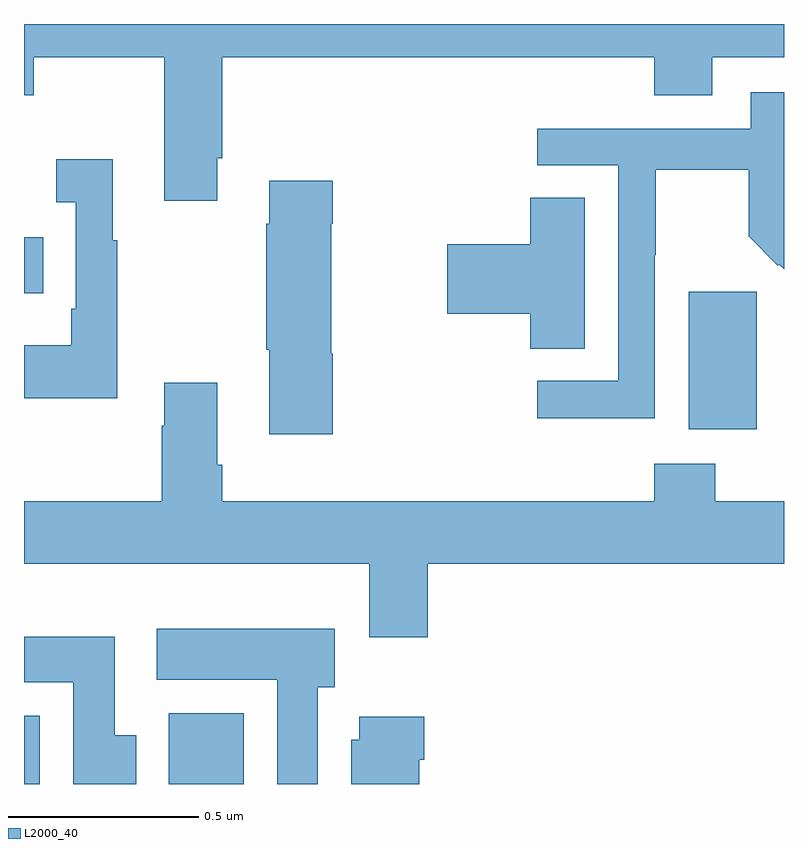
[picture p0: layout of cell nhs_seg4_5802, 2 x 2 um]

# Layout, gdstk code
import gdstk
lib = gdstk.Library(unit=1e-6, precision=1e-09)
def R(c, l, rs):  # rectangles x0, y0, x1, y1
    for r in rs: c.add(gdstk.rectangle(r[:2], r[2:], *l))
def P(c, l, *ps):  # polygons
    for p in ps: c.add(gdstk.Polygon(p, *l))
L2000_40 = (2000, 40)

nhs_seg4_5802 = lib.new_cell('nhs_seg4_5802')
R(nhs_seg4_5802, L2000_40, [(182,802.9,182.041,803.08), (182.381,802.9,182.578,803.086), (183.749,803.834,183.928,804.195), (182,804.191,182.051,804.339)])
P(nhs_seg4_5802, L2000_40, [(183.659,804.713),(183.811,804.713),(183.811,804.812),(184,804.812),(184,804.9),(182,804.9),(182,804.713),(182.025,804.713),(182.025,804.812),(182.369,804.812),(182.369,804.435),(182.509,804.435),(182.509,804.547),(182.522,804.547),(182.522,804.812),(183.659,804.812)],
  [(183.66,804.292),(183.663,804.292),(183.663,804.516),(183.907,804.516),(183.907,804.341),(183.984,804.264),(183.987,804.267),(184,804.254),(184,804.721),(183.912,804.721),(183.912,804.624),(183.351,804.624),(183.351,804.528),(183.564,804.528),(183.564,803.961),(183.351,803.961),(183.351,803.863),(183.66,803.863)],
  [(182.245,804.331),(182.233,804.331),(182.233,804.544),(182.085,804.544),(182.085,804.431),(182.136,804.431),(182.136,804.151),(182.124,804.151),(182.124,804.055),(182,804.055),(182,803.915),(182.245,803.915)],
  [(182.813,804.032),(182.808,804.032),(182.808,804.374),(182.813,804.374),(182.813,804.487),(182.645,804.487),(182.645,804.374),(182.638,804.374),(182.638,804.043),(182.645,804.043),(182.645,803.82),(182.813,803.82)],
  [(183.475,804.443),(183.332,804.443),(183.332,804.32),(183.114,804.32),(183.114,804.137),(183.332,804.137),(183.332,804.046),(183.475,804.046)],
  [(183.062,803.48),(184,803.48),(184,803.644),(183.819,803.644),(183.819,803.743),(183.659,803.743),(183.659,803.644),(182.522,803.644),(182.522,803.74),(182.509,803.74),(182.509,803.956),(182.369,803.956),(182.369,803.843),(182.362,803.843),(182.362,803.644),(182,803.644),(182,803.48),(182.909,803.48),(182.909,803.286),(183.062,803.286)],
  [(182.773,803.154),(182.818,803.154),(182.818,803.308),(182.349,803.308),(182.349,803.174),(182.666,803.174),(182.666,802.9),(182.773,802.9)],
  [(182.296,803.028),(182.239,803.028),(182.239,803.287),(182,803.287),(182,803.168),(182.129,803.168),(182.129,802.9),(182.296,802.9)],
  [(183.04,802.964),(183.053,802.964),(183.053,803.077),(182.882,803.077),(182.882,803.016),(182.861,803.016),(182.861,802.9),(183.04,802.9)])

lib.write_gds('nhs_seg4_5802.gds')
